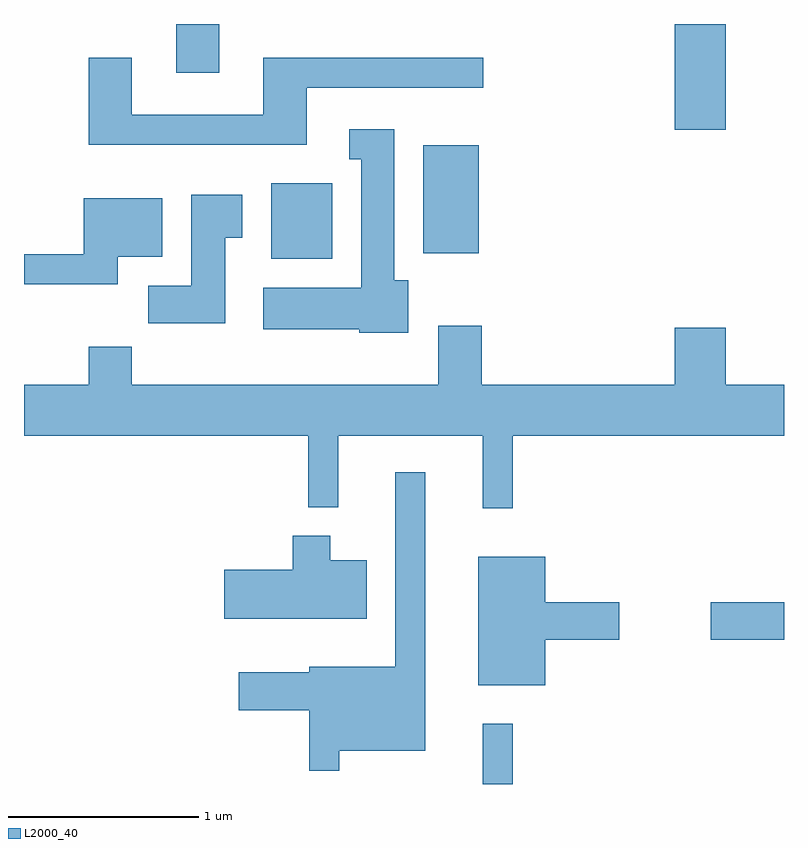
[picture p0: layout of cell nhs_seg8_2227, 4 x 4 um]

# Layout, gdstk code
import gdstk
lib = gdstk.Library(unit=1e-6, precision=1e-09)
def R(c, l, rs):  # rectangles x0, y0, x1, y1
    for r in rs: c.add(gdstk.rectangle(r[:2], r[2:], *l))
def P(c, l, *ps):  # polygons
    for p in ps: c.add(gdstk.Polygon(p, *l))
L2000_40 = (2000, 40)

nhs_seg8_2227 = lib.new_cell('nhs_seg8_2227')
R(nhs_seg8_2227, L2000_40, [(254.026,1852.342,254.184,1852.658), (255.226,1853.101,255.611,1853.299), (252.911,1855.106,253.234,1855.504), (253.711,1855.136,254.004,1855.704), (255.036,1855.786,255.304,1856.342), (252.411,1856.086,252.639,1856.342)])
P(nhs_seg8_2227, L2000_40, [(253.099,1856.006),(254.028,1856.006),(254.028,1856.164),(252.871,1856.164),(252.871,1855.864),(252.179,1855.864),(252.179,1856.164),(251.951,1856.164),(251.951,1855.706),(253.099,1855.706)],
  [(253.634,1854.994),(253.559,1854.994),(253.559,1855.789),(253.323,1855.789),(253.323,1855.631),(253.386,1855.631),(253.386,1854.954),(252.871,1854.954),(252.871,1854.736),(253.376,1854.736),(253.376,1854.716),(253.634,1854.716)],
  [(252.669,1855.216),(252.759,1855.216),(252.759,1855.444),(252.491,1855.444),(252.491,1854.964),(252.266,1854.964),(252.266,1854.766),(252.669,1854.766)],
  [(252.104,1855.116),(252.339,1855.116),(252.339,1855.424),(251.926,1855.424),(251.926,1855.129),(251.611,1855.129),(251.611,1854.971),(252.104,1854.971)],
  [(253.106,1853.798),(253.264,1853.798),(253.264,1854.176),(254.026,1854.176),(254.026,1853.793),(254.184,1853.793),(254.184,1854.176),(255.611,1854.176),(255.611,1854.444),(255.304,1854.444),(255.304,1854.744),(255.036,1854.744),(255.036,1854.444),(254.019,1854.444),(254.019,1854.754),(253.791,1854.754),(253.791,1854.444),(252.179,1854.444),(252.179,1854.644),(251.951,1854.644),(251.951,1854.444),(251.611,1854.444),(251.611,1854.176),(253.106,1854.176)],
  [(253.269,1852.516),(253.724,1852.516),(253.724,1853.983),(253.566,1853.983),(253.566,1852.959),(253.111,1852.959),(253.111,1852.929),(252.741,1852.929),(252.741,1852.731),(253.111,1852.731),(253.111,1852.413),(253.269,1852.413)],
  [(253.414,1853.519),(253.224,1853.519),(253.224,1853.649),(253.026,1853.649),(253.026,1853.469),(252.666,1853.469),(252.666,1853.211),(253.414,1853.211)],
  [(254.354,1853.101),(254.744,1853.101),(254.744,1853.299),(254.354,1853.299),(254.354,1853.539),(254.001,1853.539),(254.001,1852.861),(254.354,1852.861)])

lib.write_gds('nhs_seg8_2227.gds')
